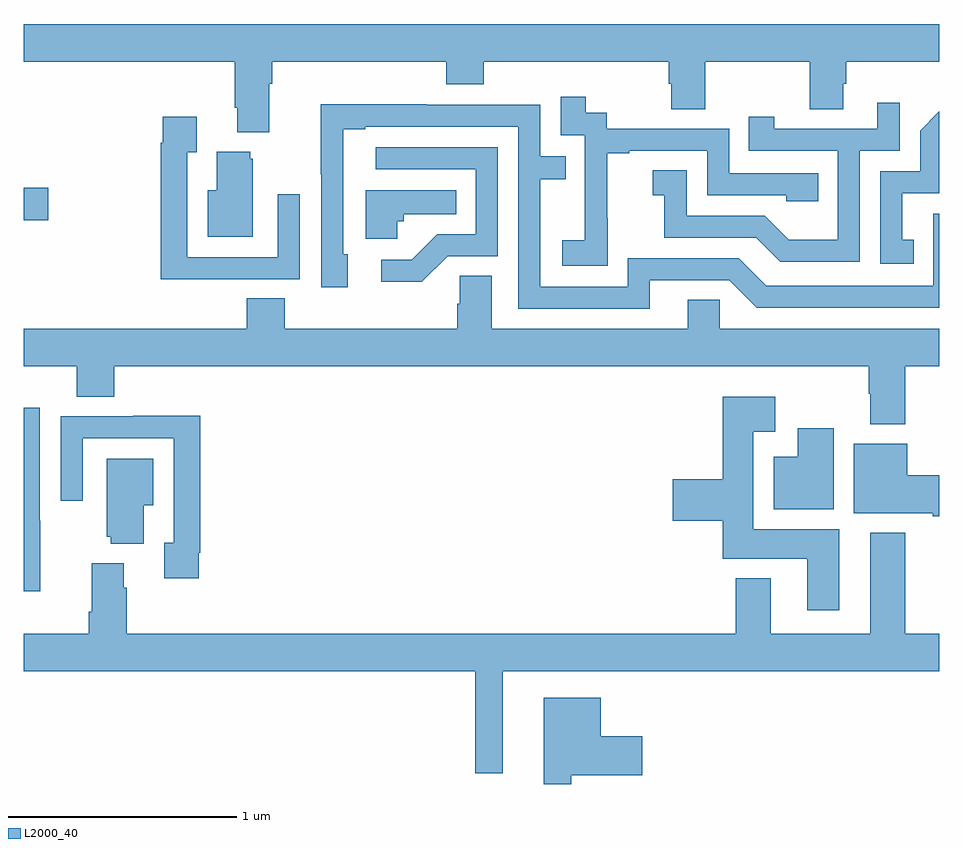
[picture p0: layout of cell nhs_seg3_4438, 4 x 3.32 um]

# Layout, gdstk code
import gdstk
lib = gdstk.Library(unit=1e-6, precision=1e-09)
def R(c, l, rs):  # rectangles x0, y0, x1, y1
    for r in rs: c.add(gdstk.rectangle(r[:2], r[2:], *l))
def P(c, l, *ps):  # polygons
    for p in ps: c.add(gdstk.Polygon(p, *l))
L2000_40 = (2000, 40)

nhs_seg3_4438 = lib.new_cell('nhs_seg3_4438')
R(nhs_seg3_4438, L2000_40, [(347,726.862,347.107,727.004)])
P(nhs_seg3_4438, L2000_40, [(348.073,727.46),(348.086,727.46),(348.086,727.556),(348.845,727.556),(348.845,727.457),(349.01,727.457),(349.01,727.556),(349.817,727.556),(349.817,727.458),(349.829,727.458),(349.829,727.348),(349.977,727.348),(349.977,727.556),(350.434,727.556),(350.434,727.348),(350.581,727.348),(350.581,727.458),(350.594,727.458),(350.594,727.556),(351,727.556),(351,727.72),(347,727.72),(347,727.556),(347.921,727.556),(347.921,727.354),(347.933,727.354),(347.933,727.247),(348.073,727.247)],
  [(349.551,726.871),(349.55,726.871),(349.55,727.155),(349.645,727.155),(349.645,727.167),(349.986,727.167),(349.986,726.972),(350.331,726.972),(350.331,726.945),(350.471,726.945),(350.471,727.068),(350.082,727.068),(350.082,727.263),(349.548,727.263),(349.548,727.332),(349.456,727.332),(349.456,727.402),(349.347,727.402),(349.347,727.233),(349.452,727.233),(349.452,727.004),(349.451,727.004),(349.451,726.775),(349.353,726.775),(349.353,726.665),(349.551,726.665)],
  [(350.652,727.167),(350.826,727.167),(350.826,727.375),(350.729,727.375),(350.729,727.263),(350.278,727.263),(350.278,727.315),(350.167,727.315),(350.167,727.167),(350.556,727.167),(350.556,726.778),(350.342,726.778),(350.238,726.882),(349.896,726.882),(349.896,727.081),(349.749,727.081),(349.749,726.971),(349.798,726.971),(349.798,726.786),(350.201,726.786),(350.306,726.681),(350.652,726.681)],
  [(349.735,726.6),(350.082,726.6),(350.202,726.48),(351,726.48),(351,726.891),(350.973,726.891),(350.973,726.576),(350.244,726.576),(350.124,726.696),(349.638,726.696),(349.638,726.573),(349.257,726.573),(349.257,727.042),(349.367,727.042),(349.367,727.143),(349.257,727.143),(349.257,727.368),(348.761,727.368),(348.761,727.37),(348.298,727.37),(348.298,727.063),(348.3,727.063),(348.3,726.57),(348.415,726.57),(348.415,726.714),(348.396,726.714),(348.396,727.26),(348.493,727.26),(348.493,727.272),(349.161,727.272),(349.161,726.477),(349.735,726.477)],
  [(350.888,726.777),(350.839,726.777),(350.839,726.981),(351,726.981),(351,727.338),(350.916,727.254),(350.916,727.077),(350.742,727.077),(350.742,726.672),(350.888,726.672)],
  [(347.891,726.606),(348.207,726.606),(348.207,726.976),(348.111,726.976),(348.111,726.702),(347.715,726.702),(347.715,727.159),(347.755,727.159),(347.755,727.315),(347.607,727.315),(347.607,727.202),(347.599,727.202),(347.599,726.605),(347.891,726.605)],
  [(348.852,726.705),(349.071,726.705),(349.071,727.182),(348.537,727.182),(348.537,727.086),(348.975,727.086),(348.975,726.801),(348.806,726.801),(348.695,726.69),(348.561,726.69),(348.561,726.593),(348.739,726.593)],
  [(348.001,727.131),(347.99,727.131),(347.99,727.162),(347.843,727.162),(347.843,726.994),(347.804,726.994),(347.804,726.791),(348.001,726.791)],
  [(348.633,726.858),(348.66,726.858),(348.66,726.89),(348.89,726.89),(348.89,726.994),(348.494,726.994),(348.494,726.782),(348.633,726.782)],
  [(350.852,726.224),(351,726.224),(351,726.388),(350.04,726.388),(350.04,726.515),(349.901,726.515),(349.901,726.388),(349.045,726.388),(349.045,726.62),(348.906,726.62),(348.906,726.497),(348.893,726.497),(348.893,726.388),(348.14,726.388),(348.14,726.521),(347.975,726.521),(347.975,726.388),(347,726.388),(347,726.224),(347.231,726.224),(347.231,726.091),(347.396,726.091),(347.396,726.224),(350.692,726.224),(350.692,726.104),(350.699,726.104),(350.699,725.972),(350.852,725.972)],
  [(350.563,725.512),(350.188,725.512),(350.188,725.939),(350.284,725.939),(350.284,726.091),(350.054,726.091),(350.054,725.732),(349.836,725.732),(349.836,725.549),(350.054,725.549),(350.054,725.384),(350.423,725.384),(350.423,725.16),(350.563,725.16)],
  [(347.073,725.549),(347.07,725.549),(347.07,726.043),(347,726.043),(347,725.243),(347.073,725.243)],
  [(347.764,725.41),(347.771,725.41),(347.771,726.008),(347.479,726.008),(347.479,726.006),(347.163,726.006),(347.163,725.637),(347.259,725.637),(347.259,725.91),(347.655,725.91),(347.655,725.454),(347.615,725.454),(347.615,725.298),(347.764,725.298)],
  [(350.539,725.953),(350.381,725.953),(350.381,725.83),(350.276,725.83),(350.276,725.6),(350.539,725.6)],
  [(351,725.748),(350.86,725.748),(350.86,725.887),(350.627,725.887),(350.627,725.582),(350.972,725.582),(350.972,725.57),(351,725.57)],
  [(347.524,725.618),(347.566,725.618),(347.566,725.821),(347.363,725.821),(347.363,725.481),(347.381,725.481),(347.381,725.45),(347.524,725.45)],
  [(349.093,724.892),(351,724.892),(351,725.056),(350.852,725.056),(350.852,725.497),(350.699,725.497),(350.699,725.056),(350.263,725.056),(350.263,725.299),(350.111,725.299),(350.111,725.056),(347.45,725.056),(347.45,725.258),(347.437,725.258),(347.437,725.365),(347.297,725.365),(347.297,725.152),(347.285,725.152),(347.285,725.056),(347,725.056),(347,724.892),(348.972,724.892),(348.972,724.448),(349.093,724.448)],
  [(349.393,724.439),(349.702,724.439),(349.702,724.609),(349.522,724.609),(349.522,724.777),(349.271,724.777),(349.271,724.4),(349.393,724.4)])

lib.write_gds('nhs_seg3_4438.gds')
